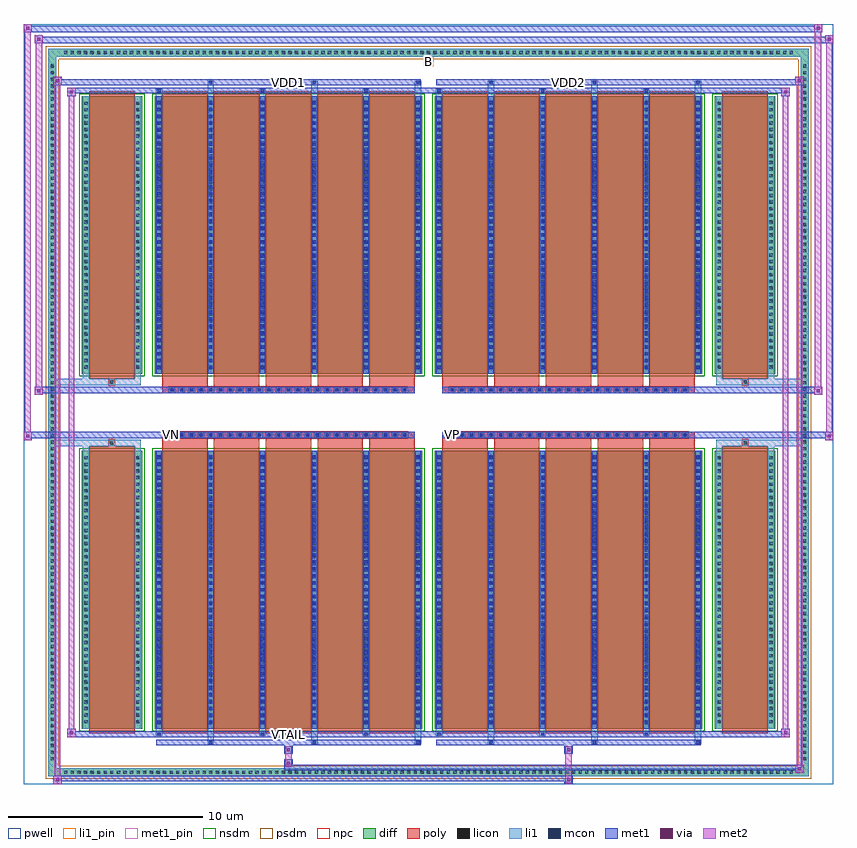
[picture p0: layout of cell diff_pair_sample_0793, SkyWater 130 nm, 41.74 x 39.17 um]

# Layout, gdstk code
import gdstk
lib = gdstk.Library(unit=1e-6, precision=5e-09)
def R(c, l, rs):  # rectangles x0, y0, x1, y1
    for r in rs: c.add(gdstk.rectangle(r[:2], r[2:], *l))
def A(c, l, x, y, w, h, nx, ny, dx, dy):  # array of equal rectangles
    R(c, l, [(x+i*dx, y+j*dy, x+i*dx+w, y+j*dy+h) for i in range(nx) for j in range(ny)])
def P(c, l, *ps):  # polygons
    for p in ps: c.add(gdstk.Polygon(p, *l))
pwell = (64, 44)
diff = (65, 20)
poly = (66, 20)
licon = (66, 44)
li1_pin = (67, 16)
li1 = (67, 20)
mcon = (67, 44)
met1_pin = (68, 16)
met1 = (68, 20)
via = (68, 44)
met2 = (69, 20)
nsdm = (93, 44)
psdm = (94, 20)
npc = (95, 20)

diff_pair_sample_0793 = lib.new_cell('diff_pair_sample_0793')
R(diff_pair_sample_0793, pwell, [(-20.87,-19.15,20.87,20.02), (-18.19,-17.34,-0.01,-0.8), (0.01,-17.34,18.19,-0.8), (-18.19,0.8,-0.01,17.34), (0.01,0.8,18.19,17.34)])
A(diff_pair_sample_0793, diff, -18.905, -18.75, 0.41, 0.41, 111, 2, 0.34, 37.09)
A(diff_pair_sample_0793, diff, -19.6, -18.055, 0.41, 0.41, 1, 106, 0, 0.34)
A(diff_pair_sample_0793, diff, 19.19, -18.055, 0.41, 0.41, 1, 106, 0, 0.34)
R(diff_pair_sample_0793, diff, [(-18.905,-18.75,18.905,-18.34), (-19.6,-18.055,-19.19,18.055), (19.19,-18.055,19.6,18.055), (-17.88,-16.295,-14.76,-1.985), (-14.12,-16.295,-0.32,-1.985), (0.32,-16.295,14.12,-1.985), (14.76,-16.295,17.88,-1.985), (-17.88,1.985,-14.76,16.295), (-14.12,1.985,-0.32,16.295), (0.32,1.985,14.12,16.295), (14.76,1.985,17.88,16.295), (-18.905,18.34,18.905,18.75)])
P(diff_pair_sample_0793, diff, [(19.6,18.75),(-19.6,18.75),(-19.6,-18.34),(-19.19,-18.34),(-19.19,18.34),(19.19,18.34),(19.19,-18.34),(-19.19,-18.34),(-19.6,-18.34),(-19.6,-18.75),(19.6,-18.75)])
A(diff_pair_sample_0793, poly, -13.73, -16.545, 2.34, 14.81, 5, 2, 2.67, 18.28)
A(diff_pair_sample_0793, poly, 0.71, -16.545, 2.34, 14.81, 5, 2, 2.67, 18.28)
A(diff_pair_sample_0793, poly, -13.73, -1.735, 2.34, 0.405, 5, 2, 2.67, 3.065)
A(diff_pair_sample_0793, poly, 0.71, -1.735, 2.34, 0.405, 5, 2, 2.67, 3.065)
A(diff_pair_sample_0793, poly, -13.385, -1.33, 0.33, 0.33, 25, 2, 0.5, 2.33)
A(diff_pair_sample_0793, poly, 1.055, -1.33, 0.33, 0.33, 25, 2, 0.5, 2.33)
R(diff_pair_sample_0793, poly, [(-17.49,-16.545,-15.15,-1.735), (15.15,-16.545,17.49,-1.735), (-16.485,-1.735,-16.155,-1.405), (-16.485,-1.735,-16.155,-1.405), (16.155,-1.735,16.485,-1.405), (16.155,-1.735,16.485,-1.405), (-13.73,-1.33,-0.71,-1), (0.71,-1.33,13.73,-1), (-13.73,1,-0.71,1.33), (0.71,1,13.73,1.33), (-16.485,1.405,-16.155,1.735), (-16.485,1.405,-16.155,1.735), (16.155,1.405,16.485,1.735), (16.155,1.405,16.485,1.735), (-17.49,1.735,-15.15,16.545), (15.15,1.735,17.49,16.545)])
A(diff_pair_sample_0793, licon, -18.785, -18.63, 0.17, 0.17, 111, 2, 0.34, 37.09)
A(diff_pair_sample_0793, licon, -19.48, -17.935, 0.17, 0.17, 1, 106, 0, 0.34)
A(diff_pair_sample_0793, licon, 19.31, -17.935, 0.17, 0.17, 1, 106, 0, 0.34)
A(diff_pair_sample_0793, licon, -17.74, -16.025, 0.17, 0.17, 1, 41, 0, 0.34)
A(diff_pair_sample_0793, licon, -15.07, -16.025, 0.17, 0.17, 1, 41, 0, 0.34)
A(diff_pair_sample_0793, licon, -13.98, -16.025, 0.17, 0.17, 6, 41, 2.67, 0.34)
A(diff_pair_sample_0793, licon, 0.46, -16.025, 0.17, 0.17, 6, 41, 2.67, 0.34)
A(diff_pair_sample_0793, licon, 14.9, -16.025, 0.17, 0.17, 1, 41, 0, 0.34)
A(diff_pair_sample_0793, licon, 17.57, -16.025, 0.17, 0.17, 1, 41, 0, 0.34)
A(diff_pair_sample_0793, licon, -13.305, -1.25, 0.17, 0.17, 25, 2, 0.5, 2.33)
A(diff_pair_sample_0793, licon, 1.135, -1.25, 0.17, 0.17, 25, 2, 0.5, 2.33)
A(diff_pair_sample_0793, licon, -17.74, 2.255, 0.17, 0.17, 1, 41, 0, 0.34)
A(diff_pair_sample_0793, licon, -15.07, 2.255, 0.17, 0.17, 1, 41, 0, 0.34)
A(diff_pair_sample_0793, licon, -13.98, 2.255, 0.17, 0.17, 6, 41, 2.67, 0.34)
A(diff_pair_sample_0793, licon, 0.46, 2.255, 0.17, 0.17, 6, 41, 2.67, 0.34)
A(diff_pair_sample_0793, licon, 14.9, 2.255, 0.17, 0.17, 1, 41, 0, 0.34)
A(diff_pair_sample_0793, licon, 17.57, 2.255, 0.17, 0.17, 1, 41, 0, 0.34)
R(diff_pair_sample_0793, licon, [(-16.405,-1.655,-16.235,-1.485), (16.235,-1.655,16.405,-1.485), (-16.405,1.485,-16.235,1.655), (16.235,1.485,16.405,1.655)])
R(diff_pair_sample_0793, li1_pin, [(-0.25,17.84,0.25,18.34)])
A(diff_pair_sample_0793, li1, -18.865, -18.71, 0.33, 0.33, 111, 2, 0.34, 37.09)
A(diff_pair_sample_0793, li1, -19.56, -18.015, 0.33, 0.33, 1, 106, 0, 0.34)
A(diff_pair_sample_0793, li1, 19.23, -18.015, 0.33, 0.33, 1, 106, 0, 0.34)
A(diff_pair_sample_0793, li1, -11.39, -17.1, 0.33, 0.805, 3, 2, 5.34, 33.395)
A(diff_pair_sample_0793, li1, -11.31, -17.1, 0.17, 0.17, 3, 2, 5.34, 34.03)
A(diff_pair_sample_0793, li1, 3.05, -17.1, 0.33, 0.805, 3, 2, 5.34, 33.395)
A(diff_pair_sample_0793, li1, 3.13, -17.1, 0.17, 0.17, 3, 2, 5.34, 34.03)
A(diff_pair_sample_0793, li1, -14.06, -16.67, 0.33, 0.375, 3, 2, 5.34, 32.965)
A(diff_pair_sample_0793, li1, -13.98, -16.67, 0.17, 0.17, 3, 2, 5.34, 33.17)
A(diff_pair_sample_0793, li1, 0.38, -16.67, 0.33, 0.375, 3, 2, 5.34, 32.965)
A(diff_pair_sample_0793, li1, 0.46, -16.67, 0.17, 0.17, 3, 2, 5.34, 33.17)
A(diff_pair_sample_0793, li1, -14.06, -16.295, 0.33, 14.31, 6, 2, 2.67, 18.28)
A(diff_pair_sample_0793, li1, 0.38, -16.295, 0.33, 14.31, 6, 2, 2.67, 18.28)
A(diff_pair_sample_0793, li1, -17.82, -16.105, 0.33, 0.33, 1, 41, 0, 0.34)
A(diff_pair_sample_0793, li1, -15.15, -16.105, 0.33, 0.33, 1, 41, 0, 0.34)
A(diff_pair_sample_0793, li1, -14.06, -16.105, 0.33, 0.33, 6, 41, 2.67, 0.34)
A(diff_pair_sample_0793, li1, 0.38, -16.105, 0.33, 0.33, 6, 41, 2.67, 0.34)
A(diff_pair_sample_0793, li1, 14.82, -16.105, 0.33, 0.33, 1, 41, 0, 0.34)
A(diff_pair_sample_0793, li1, 17.49, -16.105, 0.33, 0.33, 1, 41, 0, 0.34)
A(diff_pair_sample_0793, li1, -13.98, -16.065, 0.17, 0.17, 6, 39, 2.67, 0.36)
A(diff_pair_sample_0793, li1, -13.98, -16.065, 0.17, 13.85, 6, 2, 2.67, 18.28)
A(diff_pair_sample_0793, li1, 0.46, -16.065, 0.17, 0.17, 6, 39, 2.67, 0.36)
A(diff_pair_sample_0793, li1, 0.46, -16.065, 0.17, 13.85, 6, 2, 2.67, 18.28)
A(diff_pair_sample_0793, li1, -13.385, -1.33, 0.33, 0.33, 25, 2, 0.5, 2.33)
A(diff_pair_sample_0793, li1, 1.055, -1.33, 0.33, 0.33, 25, 2, 0.5, 2.33)
A(diff_pair_sample_0793, li1, -17.82, 2.175, 0.33, 0.33, 1, 41, 0, 0.34)
A(diff_pair_sample_0793, li1, -15.15, 2.175, 0.33, 0.33, 1, 41, 0, 0.34)
A(diff_pair_sample_0793, li1, -14.06, 2.175, 0.33, 0.33, 6, 41, 2.67, 0.34)
A(diff_pair_sample_0793, li1, 0.38, 2.175, 0.33, 0.33, 6, 41, 2.67, 0.34)
A(diff_pair_sample_0793, li1, 14.82, 2.175, 0.33, 0.33, 1, 41, 0, 0.34)
A(diff_pair_sample_0793, li1, 17.49, 2.175, 0.33, 0.33, 1, 41, 0, 0.34)
A(diff_pair_sample_0793, li1, -13.98, 2.215, 0.17, 0.17, 6, 39, 2.67, 0.36)
A(diff_pair_sample_0793, li1, 0.46, 2.215, 0.17, 0.17, 6, 39, 2.67, 0.36)
R(diff_pair_sample_0793, li1, [(-19.6,-18.75,-19.19,-18.34), (-19.6,-18.75,-19.19,-18.34), (-19.19,-18.75,19.19,-18.34), (19.19,-18.75,19.6,-18.34), (19.19,-18.75,19.6,-18.34), (-19.6,-18.34,-19.19,18.34), (19.19,-18.34,19.6,18.34), (-17.82,-16.295,-17.49,-1.985), (-15.15,-16.295,-14.82,-1.985), (14.82,-16.295,15.15,-1.985), (17.49,-16.295,17.82,-1.985), (-17.82,-1.985,-17.49,-1.405), (-15.15,-1.985,-14.82,-1.405), (14.82,-1.985,15.15,-1.405), (17.49,-1.985,17.82,-1.405), (-19.6,-1.735,-16.485,-1.405), (-17.82,-1.735,-16.485,-1.405), (-16.485,-1.735,-16.155,-1.405), (-16.155,-1.735,-14.82,-1.405), (14.82,-1.735,16.155,-1.405), (16.155,-1.735,16.485,-1.405), (16.155,-1.735,19.6,-1.405), (16.485,-1.735,17.82,-1.405), (-19.6,1.405,-16.485,1.735), (-17.82,1.405,-16.485,1.735), (-17.82,1.405,-17.49,1.985), (-16.485,1.405,-16.155,1.735), (-16.155,1.405,-14.82,1.735), (-15.15,1.405,-14.82,1.985), (14.82,1.405,16.155,1.735), (14.82,1.405,15.15,1.985), (16.155,1.405,16.485,1.735), (16.155,1.405,19.6,1.735), (16.485,1.405,17.82,1.735), (17.49,1.405,17.82,1.985), (-17.82,1.985,-17.49,16.295), (-15.15,1.985,-14.82,16.295), (14.82,1.985,15.15,16.295), (17.49,1.985,17.82,16.295), (-19.6,18.34,-19.19,18.75), (-19.6,18.34,-19.19,18.75), (-19.19,18.34,19.19,18.75), (19.19,18.34,19.6,18.75), (19.19,18.34,19.6,18.75)])
A(diff_pair_sample_0793, mcon, -11.31, -17.1, 0.17, 0.17, 3, 2, 5.34, 34.03)
A(diff_pair_sample_0793, mcon, 3.13, -17.1, 0.17, 0.17, 3, 2, 5.34, 34.03)
A(diff_pair_sample_0793, mcon, -13.98, -16.67, 0.17, 0.17, 3, 2, 5.34, 33.17)
A(diff_pair_sample_0793, mcon, 0.46, -16.67, 0.17, 0.17, 3, 2, 5.34, 33.17)
A(diff_pair_sample_0793, mcon, -13.98, -16.065, 0.17, 0.17, 6, 39, 2.67, 0.36)
A(diff_pair_sample_0793, mcon, 0.46, -16.065, 0.17, 0.17, 6, 39, 2.67, 0.36)
A(diff_pair_sample_0793, mcon, -13.305, -1.25, 0.17, 0.17, 25, 2, 0.5, 2.33)
A(diff_pair_sample_0793, mcon, 1.135, -1.25, 0.17, 0.17, 25, 2, 0.5, 2.33)
A(diff_pair_sample_0793, mcon, -13.98, 2.215, 0.17, 0.17, 6, 39, 2.67, 0.36)
A(diff_pair_sample_0793, mcon, 0.46, 2.215, 0.17, 0.17, 6, 39, 2.67, 0.36)
R(diff_pair_sample_0793, met1_pin, [(-7.355,-16.71,-7.085,-16.44), (-13.355,-1.29,-13.085,-1.02), (1.085,-1.29,1.355,-1.02), (-7.355,16.89,-7.085,17.16), (7.085,16.89,7.355,17.16)])
A(diff_pair_sample_0793, met1, -11.37, -17.16, 0.29, 0.29, 3, 2, 5.34, 34.03)
A(diff_pair_sample_0793, met1, 3.07, -17.16, 0.29, 0.29, 3, 2, 5.34, 34.03)
A(diff_pair_sample_0793, met1, -14.04, -16.73, 0.29, 0.29, 3, 2, 5.34, 33.17)
A(diff_pair_sample_0793, met1, 0.4, -16.73, 0.29, 0.29, 3, 2, 5.34, 33.17)
A(diff_pair_sample_0793, met1, -14.04, -16.295, 0.29, 14.31, 6, 2, 2.67, 18.28)
A(diff_pair_sample_0793, met1, 0.4, -16.295, 0.29, 14.31, 6, 2, 2.67, 18.28)
A(diff_pair_sample_0793, met1, -14.04, -16.125, 0.29, 0.29, 6, 39, 2.67, 0.36)
A(diff_pair_sample_0793, met1, 0.4, -16.125, 0.29, 0.29, 6, 39, 2.67, 0.36)
A(diff_pair_sample_0793, met1, -13.365, -1.31, 0.29, 0.29, 25, 2, 0.5, 2.33)
A(diff_pair_sample_0793, met1, 1.075, -1.31, 0.29, 0.29, 25, 2, 0.5, 2.33)
A(diff_pair_sample_0793, met1, -14.04, 2.155, 0.29, 0.29, 6, 39, 2.67, 0.36)
A(diff_pair_sample_0793, met1, 0.4, 2.155, 0.29, 0.29, 6, 39, 2.67, 0.36)
R(diff_pair_sample_0793, met1, [(-19.33,-19.15,-18.9,-18.72), (7.005,-19.15,7.435,-18.72), (-19.33,-19.01,7.435,-18.72), (18.9,-18.58,19.33,-18.15), (-7.435,-18.44,19.33,-18.15), (-7.435,-18.3,-7.005,-17.87), (-7.435,-17.59,-7.005,-17.16), (7.005,-17.59,7.435,-17.16), (-14.04,-17.16,-0.4,-16.87), (0.4,-17.16,14.04,-16.87), (-18.62,-16.73,-18.19,-16.3), (-18.62,-16.73,-14.04,-16.44), (-14.04,-16.73,-0.4,-16.44), (-0.4,-16.73,0.4,-16.44), (0.4,-16.73,14.04,-16.44), (14.04,-16.73,18.62,-16.44), (18.19,-16.73,18.62,-16.3), (-20.87,-1.43,-20.44,-1), (20.44,-1.43,20.87,-1), (-20.87,-1.33,-0.71,-1), (-13.73,-1.33,-0.71,-1), (0.71,-1.33,13.73,-1), (0.71,-1.33,20.87,-1), (-20.3,0.9,-19.87,1.33), (19.87,0.9,20.3,1.33), (-20.3,1,-13.73,1.33), (-13.73,1,-0.71,1.33), (0.71,1,13.73,1.33), (13.73,1,20.3,1.33), (-18.62,16.3,-18.19,16.73), (18.19,16.3,18.62,16.73), (-18.62,16.44,-14.04,16.73), (-14.04,16.44,-0.4,16.73), (-0.4,16.44,0.4,16.73), (0.4,16.44,14.04,16.73), (14.04,16.44,18.62,16.73), (-19.33,16.87,-18.9,17.3), (-19.33,16.87,-14.04,17.16), (-14.04,16.87,-0.4,17.16), (0.4,16.87,14.04,17.16), (14.04,16.87,19.33,17.16), (18.9,16.87,19.33,17.3), (-20.3,19.02,-19.87,19.45), (-20.3,19.02,-18.19,19.35), (-18.19,19.02,18.19,19.35), (18.19,19.02,20.87,19.35), (20.44,19.02,20.87,19.45), (-20.87,19.59,-20.44,20.02), (-20.87,19.59,-18.19,19.92), (-18.19,19.59,18.19,19.92), (18.19,19.59,20.3,19.92), (19.87,19.59,20.3,20.02)])
R(diff_pair_sample_0793, via, [(-19.19,-19.01,-19.04,-18.86), (7.145,-19.01,7.295,-18.86), (19.04,-18.44,19.19,-18.29), (-7.295,-18.16,-7.145,-18.01), (-7.295,-17.45,-7.145,-17.3), (7.145,-17.45,7.295,-17.3), (-18.48,-16.59,-18.33,-16.44), (18.33,-16.59,18.48,-16.44), (-20.73,-1.29,-20.58,-1.14), (20.58,-1.29,20.73,-1.14), (-20.16,1.04,-20.01,1.19), (20.01,1.04,20.16,1.19), (-18.48,16.44,-18.33,16.59), (18.33,16.44,18.48,16.59), (-19.19,17.01,-19.04,17.16), (19.04,17.01,19.19,17.16), (-20.16,19.16,-20.01,19.31), (20.58,19.16,20.73,19.31), (-20.73,19.73,-20.58,19.88), (20.01,19.73,20.16,19.88)])
R(diff_pair_sample_0793, met2, [(-19.33,-19.15,-18.9,-18.72), (-19.26,-19.15,-18.97,17.3), (-18.97,-19.15,-18.9,-18.72), (-19.28,-19.1,-18.95,-18.77), (7.055,-19.1,7.385,-18.77), (7.055,-18.77,7.385,-17.54), (18.9,-18.58,19.33,-18.15), (18.97,-18.58,19.26,17.3), (19.26,-18.58,19.33,-18.15), (18.95,-18.53,19.28,-18.2), (-7.385,-18.25,-7.055,-17.92), (-7.385,-17.92,-7.055,-17.54), (-7.385,-17.54,-7.055,-17.21), (7.055,-17.54,7.385,-17.21), (-18.62,-16.73,-18.19,-16.3), (-18.55,-16.73,-18.26,16.73), (-18.26,-16.73,-18.19,-16.3), (18.19,-16.73,18.62,-16.3), (18.26,-16.73,18.55,16.73), (18.55,-16.73,18.62,-16.3), (-18.57,-16.68,-18.24,-16.35), (18.24,-16.68,18.57,-16.35), (-20.87,-1.43,-20.44,-1), (-20.82,-1.43,-20.49,20.02), (-20.49,-1.43,-20.44,-1), (20.44,-1.43,20.87,-1), (20.49,-1.43,20.82,19.45), (20.82,-1.43,20.87,-1), (-20.82,-1.38,-20.49,-1.05), (20.49,-1.38,20.82,-1.05), (-20.3,0.9,-19.87,1.33), (-20.25,0.9,-19.92,19.45), (-19.92,0.9,-19.87,1.33), (19.87,0.9,20.3,1.33), (19.92,0.9,20.25,20.02), (20.25,0.9,20.3,1.33), (-20.25,0.95,-19.92,1.28), (19.92,0.95,20.25,1.28), (-18.62,16.3,-18.19,16.73), (-18.26,16.3,-18.19,16.73), (18.19,16.3,18.62,16.73), (18.55,16.3,18.62,16.73), (-18.57,16.35,-18.24,16.68), (18.24,16.35,18.57,16.68), (-19.33,16.87,-18.9,17.3), (-18.97,16.87,-18.9,17.3), (18.9,16.87,19.33,17.3), (19.26,16.87,19.33,17.3), (-19.28,16.92,-18.95,17.25), (18.95,16.92,19.28,17.25), (-20.3,19.02,-19.87,19.45), (-19.92,19.02,-19.87,19.45), (20.44,19.02,20.87,19.45), (20.82,19.02,20.87,19.45), (-20.25,19.07,-19.92,19.4), (20.49,19.07,20.82,19.4), (-20.87,19.59,-20.44,20.02), (-20.49,19.59,-20.44,20.02), (19.87,19.59,20.3,20.02), (20.25,19.59,20.3,20.02), (-20.82,19.64,-20.49,19.97), (19.92,19.64,20.25,19.97)])
R(diff_pair_sample_0793, nsdm, [(-18.01,-16.425,-14.63,-1.855), (-14.25,-16.425,-0.19,-1.855), (0.19,-16.425,14.25,-1.855), (14.63,-16.425,18.01,-1.855), (-18.01,1.855,-14.63,16.425), (-14.25,1.855,-0.19,16.425), (0.19,1.855,14.25,16.425), (14.63,1.855,18.01,16.425)])
P(diff_pair_sample_0793, psdm, [(19.73,18.88),(-19.73,18.88),(-19.73,-18.21),(-19.06,-18.21),(-19.06,18.21),(19.06,18.21),(19.06,-18.21),(-19.06,-18.21),(-19.73,-18.21),(-19.73,-18.88),(19.73,-18.88)])
A(diff_pair_sample_0793, npc, -13.405, -1.35, 0.37, 0.37, 25, 2, 0.5, 2.33)
A(diff_pair_sample_0793, npc, 1.035, -1.35, 0.37, 0.37, 25, 2, 0.5, 2.33)
R(diff_pair_sample_0793, npc, [(-16.505,-1.755,-16.135,-1.385), (16.135,-1.755,16.505,-1.385), (-13.405,-1.35,-12.535,-0.98), (-13.405,-1.35,-12.535,-0.98), (-12.905,-1.35,-12.035,-0.98), (-12.905,-1.35,-12.035,-0.98), (-12.405,-1.35,-11.535,-0.98), (-12.405,-1.35,-11.535,-0.98), (-11.905,-1.35,-11.035,-0.98), (-11.905,-1.35,-11.035,-0.98), (-11.405,-1.35,-10.535,-0.98), (-11.405,-1.35,-10.535,-0.98), (-10.905,-1.35,-10.035,-0.98), (-10.905,-1.35,-10.035,-0.98), (-10.405,-1.35,-9.535,-0.98), (-10.405,-1.35,-9.535,-0.98), (-9.905,-1.35,-9.035,-0.98), (-9.905,-1.35,-9.035,-0.98), (-9.405,-1.35,-8.535,-0.98), (-9.405,-1.35,-8.535,-0.98), (-8.905,-1.35,-8.035,-0.98), (-8.905,-1.35,-8.035,-0.98), (-8.405,-1.35,-7.535,-0.98), (-8.405,-1.35,-7.535,-0.98), (-7.905,-1.35,-7.035,-0.98), (-7.905,-1.35,-7.035,-0.98), (-7.405,-1.35,-6.535,-0.98), (-7.405,-1.35,-6.535,-0.98), (-6.905,-1.35,-6.035,-0.98), (-6.905,-1.35,-6.035,-0.98), (-6.405,-1.35,-5.535,-0.98), (-6.405,-1.35,-5.535,-0.98), (-5.905,-1.35,-5.035,-0.98), (-5.905,-1.35,-5.035,-0.98), (-5.405,-1.35,-4.535,-0.98), (-5.405,-1.35,-4.535,-0.98), (-4.905,-1.35,-4.035,-0.98), (-4.905,-1.35,-4.035,-0.98), (-4.405,-1.35,-3.535,-0.98), (-4.405,-1.35,-3.535,-0.98), (-3.905,-1.35,-3.035,-0.98), (-3.905,-1.35,-3.035,-0.98), (-3.405,-1.35,-2.535,-0.98), (-3.405,-1.35,-2.535,-0.98), (-2.905,-1.35,-2.035,-0.98), (-2.905,-1.35,-2.035,-0.98), (-2.405,-1.35,-1.535,-0.98), (-2.405,-1.35,-1.535,-0.98), (-1.905,-1.35,-1.035,-0.98), (-1.905,-1.35,-1.035,-0.98), (1.035,-1.35,1.905,-0.98), (1.035,-1.35,1.905,-0.98), (1.535,-1.35,2.405,-0.98), (1.535,-1.35,2.405,-0.98), (2.035,-1.35,2.905,-0.98), (2.035,-1.35,2.905,-0.98), (2.535,-1.35,3.405,-0.98), (2.535,-1.35,3.405,-0.98), (3.035,-1.35,3.905,-0.98), (3.035,-1.35,3.905,-0.98), (3.535,-1.35,4.405,-0.98), (3.535,-1.35,4.405,-0.98), (4.035,-1.35,4.905,-0.98), (4.035,-1.35,4.905,-0.98), (4.535,-1.35,5.405,-0.98), (4.535,-1.35,5.405,-0.98), (5.035,-1.35,5.905,-0.98), (5.035,-1.35,5.905,-0.98), (5.535,-1.35,6.405,-0.98), (5.535,-1.35,6.405,-0.98), (6.035,-1.35,6.905,-0.98), (6.035,-1.35,6.905,-0.98), (6.535,-1.35,7.405,-0.98), (6.535,-1.35,7.405,-0.98), (7.035,-1.35,7.905,-0.98), (7.035,-1.35,7.905,-0.98), (7.535,-1.35,8.405,-0.98), (7.535,-1.35,8.405,-0.98), (8.035,-1.35,8.905,-0.98), (8.035,-1.35,8.905,-0.98), (8.535,-1.35,9.405,-0.98), (8.535,-1.35,9.405,-0.98), (9.035,-1.35,9.905,-0.98), (9.035,-1.35,9.905,-0.98), (9.535,-1.35,10.405,-0.98), (9.535,-1.35,10.405,-0.98), (10.035,-1.35,10.905,-0.98), (10.035,-1.35,10.905,-0.98), (10.535,-1.35,11.405,-0.98), (10.535,-1.35,11.405,-0.98), (11.035,-1.35,11.905,-0.98), (11.035,-1.35,11.905,-0.98), (11.535,-1.35,12.405,-0.98), (11.535,-1.35,12.405,-0.98), (12.035,-1.35,12.905,-0.98), (12.035,-1.35,12.905,-0.98), (12.535,-1.35,13.405,-0.98), (12.535,-1.35,13.405,-0.98), (-13.405,0.98,-12.535,1.35), (-13.405,0.98,-12.535,1.35), (-12.905,0.98,-12.035,1.35), (-12.905,0.98,-12.035,1.35), (-12.405,0.98,-11.535,1.35), (-12.405,0.98,-11.535,1.35), (-11.905,0.98,-11.035,1.35), (-11.905,0.98,-11.035,1.35), (-11.405,0.98,-10.535,1.35), (-11.405,0.98,-10.535,1.35), (-10.905,0.98,-10.035,1.35), (-10.905,0.98,-10.035,1.35), (-10.405,0.98,-9.535,1.35), (-10.405,0.98,-9.535,1.35), (-9.905,0.98,-9.035,1.35), (-9.905,0.98,-9.035,1.35), (-9.405,0.98,-8.535,1.35), (-9.405,0.98,-8.535,1.35), (-8.905,0.98,-8.035,1.35), (-8.905,0.98,-8.035,1.35), (-8.405,0.98,-7.535,1.35), (-8.405,0.98,-7.535,1.35), (-7.905,0.98,-7.035,1.35), (-7.905,0.98,-7.035,1.35), (-7.405,0.98,-6.535,1.35), (-7.405,0.98,-6.535,1.35), (-6.905,0.98,-6.035,1.35), (-6.905,0.98,-6.035,1.35), (-6.405,0.98,-5.535,1.35), (-6.405,0.98,-5.535,1.35), (-5.905,0.98,-5.035,1.35), (-5.905,0.98,-5.035,1.35), (-5.405,0.98,-4.535,1.35), (-5.405,0.98,-4.535,1.35), (-4.905,0.98,-4.035,1.35), (-4.905,0.98,-4.035,1.35), (-4.405,0.98,-3.535,1.35), (-4.405,0.98,-3.535,1.35), (-3.905,0.98,-3.035,1.35), (-3.905,0.98,-3.035,1.35), (-3.405,0.98,-2.535,1.35), (-3.405,0.98,-2.535,1.35), (-2.905,0.98,-2.035,1.35), (-2.905,0.98,-2.035,1.35), (-2.405,0.98,-1.535,1.35), (-2.405,0.98,-1.535,1.35), (-1.905,0.98,-1.035,1.35), (-1.905,0.98,-1.035,1.35), (1.035,0.98,1.905,1.35), (1.035,0.98,1.905,1.35), (1.535,0.98,2.405,1.35), (1.535,0.98,2.405,1.35), (2.035,0.98,2.905,1.35), (2.035,0.98,2.905,1.35), (2.535,0.98,3.405,1.35), (2.535,0.98,3.405,1.35), (3.035,0.98,3.905,1.35), (3.035,0.98,3.905,1.35), (3.535,0.98,4.405,1.35), (3.535,0.98,4.405,1.35), (4.035,0.98,4.905,1.35), (4.035,0.98,4.905,1.35), (4.535,0.98,5.405,1.35), (4.535,0.98,5.405,1.35), (5.035,0.98,5.905,1.35), (5.035,0.98,5.905,1.35), (5.535,0.98,6.405,1.35), (5.535,0.98,6.405,1.35), (6.035,0.98,6.905,1.35), (6.035,0.98,6.905,1.35), (6.535,0.98,7.405,1.35), (6.535,0.98,7.405,1.35), (7.035,0.98,7.905,1.35), (7.035,0.98,7.905,1.35), (7.535,0.98,8.405,1.35), (7.535,0.98,8.405,1.35), (8.035,0.98,8.905,1.35), (8.035,0.98,8.905,1.35), (8.535,0.98,9.405,1.35), (8.535,0.98,9.405,1.35), (9.035,0.98,9.905,1.35), (9.035,0.98,9.905,1.35), (9.535,0.98,10.405,1.35), (9.535,0.98,10.405,1.35), (10.035,0.98,10.905,1.35), (10.035,0.98,10.905,1.35), (10.535,0.98,11.405,1.35), (10.535,0.98,11.405,1.35), (11.035,0.98,11.905,1.35), (11.035,0.98,11.905,1.35), (11.535,0.98,12.405,1.35), (11.535,0.98,12.405,1.35), (12.035,0.98,12.905,1.35), (12.035,0.98,12.905,1.35), (12.535,0.98,13.405,1.35), (12.535,0.98,13.405,1.35), (-16.505,1.385,-16.135,1.755), (16.135,1.385,16.505,1.755)])
diff_pair_sample_0793.add(gdstk.Label('VTAIL', (-7.22,-16.575), layer=68, texttype=5))
diff_pair_sample_0793.add(gdstk.Label('VN', (-13.22,-1.155), layer=68, texttype=5))
diff_pair_sample_0793.add(gdstk.Label('VP', (1.22,-1.155), layer=68, texttype=5))
diff_pair_sample_0793.add(gdstk.Label('B', (0,18.09), layer=67, texttype=5))
diff_pair_sample_0793.add(gdstk.Label('VDD2', (7.22,17.025), layer=68, texttype=5))
diff_pair_sample_0793.add(gdstk.Label('VDD1', (-7.22,17.025), layer=68, texttype=5))

lib.write_gds('diff_pair_sample_0793.gds')
